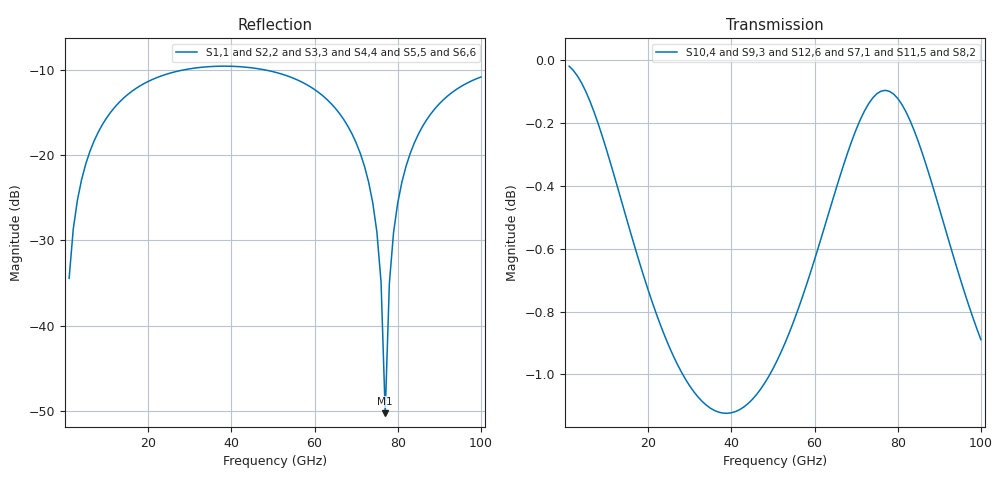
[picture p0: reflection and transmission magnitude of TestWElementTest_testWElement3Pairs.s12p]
! File created by SignalIntegrity v1.1.13: Signal and Power Integrity Tools
! https://github.com/TeledyneLeCroy/SignalIntegrity
# MHz S MA R 50.0
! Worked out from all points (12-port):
!   100 points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, 1 GHz to 100 GHz, reference 50 ohm
!   strongest paths, dB at 1 GHz, 26 GHz, 51 GHz, 76 GHz, 100 GHz:
!     S10,4: 0.0, -0.9, -1.0, -0.1, -0.9
!     S9,3: 0.0, -0.9, -1.0, -0.1, -0.9
!     S12,6: 0.0, -1.0, -1.0, -0.1, -0.9
!     S7,1: 0.0, -1.0, -1.0, -0.1, -0.9
!     S11,5: 0.0, -1.0, -1.0, -0.1, -0.9
!     S8,2: 0.0, -1.0, -1.0, -0.1, -0.9
!   lowest |S11| = -50.3 dB at 77 GHz (marker M1), VSWR 1.01, Z = 50.3 - j0.012 ohm
!   |S11| at or under -10 dB: start of sweep to 28.22 GHz; 48.37 GHz to end of sweep
